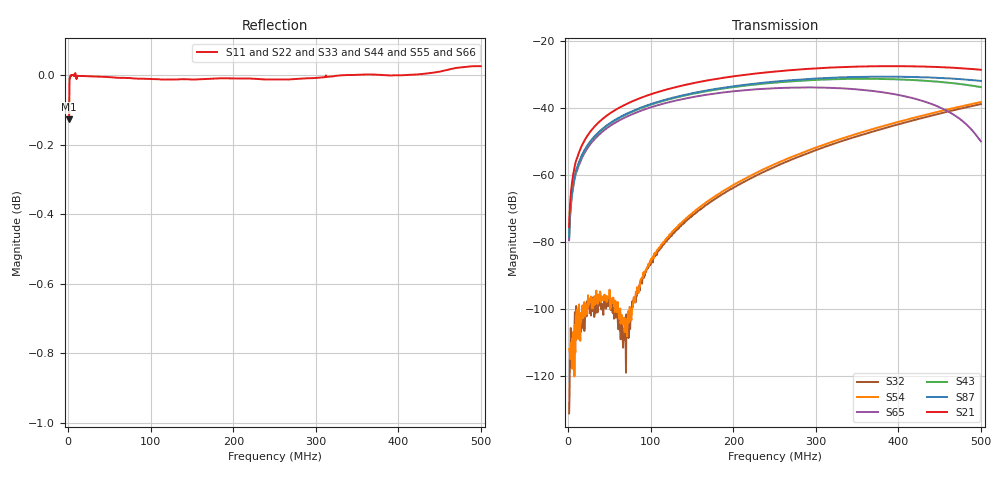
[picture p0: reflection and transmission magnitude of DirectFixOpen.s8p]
!Agilent Technologies,M9370A,MY54322275,A.02.50.04
!Agilent M9370A: A.02.50.04
!Date: Friday, April 06, 2018 11:07:38
!Correction: S11(Full 8 Port(1,2,3,4,5,6,7,8))
!S12(Full 8 Port(1,2,3,4,5,6,7,8))
!S13(Full 8 Port(1,2,3,4,5,6,7,8))
!S14(Full 8 Port(1,2,3,4,5,6,7,8))
!S15(Full 8 Port(1,2,3,4,5,6,7,8))
!S16(Full 8 Port(1,2,3,4,5,6,7,8))
!S17(Full 8 Port(1,2,3,4,5,6,7,8))
!S18(Full 8 Port(1,2,3,4,5,6,7,8))
!S21(Full 8 Port(1,2,3,4,5,6,7,8))
!S22(Full 8 Port(1,2,3,4,5,6,7,8))
!S23(Full 8 Port(1,2,3,4,5,6,7,8))
!S24(Full 8 Port(1,2,3,4,5,6,7,8))
!S25(Full 8 Port(1,2,3,4,5,6,7,8))
!S26(Full 8 Port(1,2,3,4,5,6,7,8))
!S27(Full 8 Port(1,2,3,4,5,6,7,8))
!S28(Full 8 Port(1,2,3,4,5,6,7,8))
!S31(Full 8 Port(1,2,3,4,5,6,7,8))
!S32(Full 8 Port(1,2,3,4,5,6,7,8))
!S33(Full 8 Port(1,2,3,4,5,6,7,8))
!S34(Full 8 Port(1,2,3,4,5,6,7,8))
!S35(Full 8 Port(1,2,3,4,5,6,7,8))
!S36(Full 8 Port(1,2,3,4,5,6,7,8))
!S37(Full 8 Port(1,2,3,4,5,6,7,8))
!S38(Full 8 Port(1,2,3,4,5,6,7,8))
!S41(Full 8 Port(1,2,3,4,5,6,7,8))
!S42(Full 8 Port(1,2,3,4,5,6,7,8))
!S43(Full 8 Port(1,2,3,4,5,6,7,8))
!S44(Full 8 Port(1,2,3,4,5,6,7,8))
!S45(Full 8 Port(1,2,3,4,5,6,7,8))
!S46(Full 8 Port(1,2,3,4,5,6,7,8))
!S47(Full 8 Port(1,2,3,4,5,6,7,8))
!S48(Full 8 Port(1,2,3,4,5,6,7,8))
!S51(Full 8 Port(1,2,3,4,5,6,7,8))
!S52(Full 8 Port(1,2,3,4,5,6,7,8))
!S53(Full 8 Port(1,2,3,4,5,6,7,8))
!S54(Full 8 Port(1,2,3,4,5,6,7,8))
!S55(Full 8 Port(1,2,3,4,5,6,7,8))
!S56(Full 8 Port(1,2,3,4,5,6,7,8))
!S57(Full 8 Port(1,2,3,4,5,6,7,8))
!S58(Full 8 Port(1,2,3,4,5,6,7,8))
!S61(Full 8 Port(1,2,3,4,5,6,7,8))
!S62(Full 8 Port(1,2,3,4,5,6,7,8))
!S63(Full 8 Port(1,2,3,4,5,6,7,8))
!S64(Full 8 Port(1,2,3,4,5,6,7,8))
!S65(Full 8 Port(1,2,3,4,5,6,7,8))
!S66(Full 8 Port(1,2,3,4,5,6,7,8))
!S67(Full 8 Port(1,2,3,4,5,6,7,8))
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# Hz S  RI  R 50
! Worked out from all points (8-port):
!   1000 points, 1 MHz to 500 MHz, reference 50 ohm
!   strongest paths, dB at 1 MHz, 125.9 MHz, 250.7 MHz, 375.6 MHz, 500 MHz:
!     S21: -75.6, -34.1, -29.2, -27.6, -28.7
!     S87: -78.7, -37.1, -32.2, -30.7, -32.0
!     S43: -78.6, -37.3, -32.5, -31.4, -33.9
!     S65: -79.5, -38.1, -34.2, -35.2, -50.1
!     S54: -112.0, -77.1, -56.8, -45.9, -38.3
!     S32: -131.2, -78.0, -57.6, -46.7, -38.9
!   lowest |S11| = -0.1 dB at 1 MHz (marker M1), VSWR 137.89, Z = 184 + j1.11e+03 ohm
!   |S11| at or under -10 dB: nowhere
